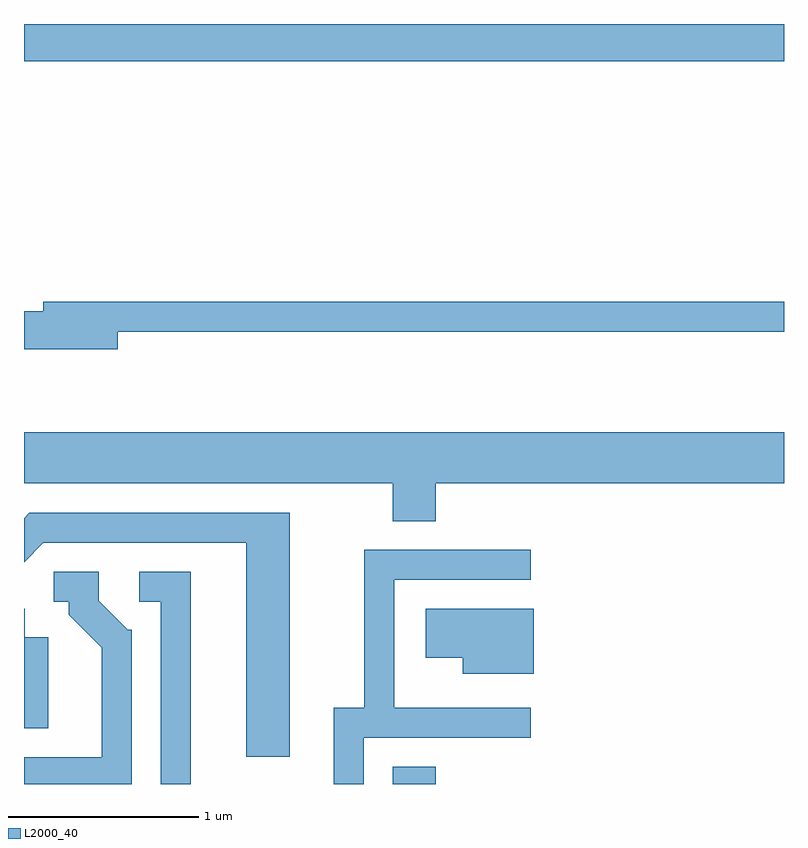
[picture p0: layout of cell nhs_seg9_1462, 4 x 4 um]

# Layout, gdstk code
import gdstk
lib = gdstk.Library(unit=1e-6, precision=1e-09)
def R(c, l, rs):  # rectangles x0, y0, x1, y1
    for r in rs: c.add(gdstk.rectangle(r[:2], r[2:], *l))
def P(c, l, *ps):  # polygons
    for p in ps: c.add(gdstk.Polygon(p, *l))
L2000_40 = (2000, 40)

nhs_seg9_1462 = lib.new_cell('nhs_seg9_1462')
R(nhs_seg9_1462, L2000_40, [(229.551,2012.432,229.779,2012.524), (227.611,2016.236,231.611,2016.432)])
P(nhs_seg9_1462, L2000_40, [(228.104,2014.811),(231.611,2014.811),(231.611,2014.969),(227.711,2014.969),(227.711,2014.919),(227.611,2014.919),(227.611,2014.721),(228.104,2014.721)],
  [(229.779,2014.016),(231.611,2014.016),(231.611,2014.284),(227.611,2014.284),(227.611,2014.016),(229.551,2014.016),(229.551,2013.816),(229.779,2013.816)],
  [(229.009,2013.859),(227.639,2013.859),(227.611,2013.831),(227.611,2013.6),(227.712,2013.701),(228.781,2013.701),(228.781,2012.576),(229.009,2012.576)],
  [(229.399,2012.676),(230.278,2012.676),(230.278,2012.834),(229.559,2012.834),(229.559,2013.506),(230.278,2013.506),(230.278,2013.664),(229.401,2013.664),(229.401,2012.834),(229.241,2012.834),(229.241,2012.432),(229.399,2012.432)],
  [(228.179,2013.244),(228.157,2013.244),(228.004,2013.397),(228.004,2013.549),(227.768,2013.549),(227.768,2013.391),(227.846,2013.391),(227.846,2013.324),(228.021,2013.149),(228.021,2012.574),(227.611,2012.574),(227.611,2012.432),(228.179,2012.432)],
  [(228.489,2013.549),(228.218,2013.549),(228.218,2013.391),(228.331,2013.391),(228.331,2012.432),(228.489,2012.432)],
  [(230.294,2013.354),(229.726,2013.354),(229.726,2013.096),(229.921,2013.096),(229.921,2013.011),(230.294,2013.011)],
  [(227.739,2013.204),(227.614,2013.204),(227.614,2013.354),(227.611,2013.354),(227.611,2012.726),(227.739,2012.726)])

lib.write_gds('nhs_seg9_1462.gds')
